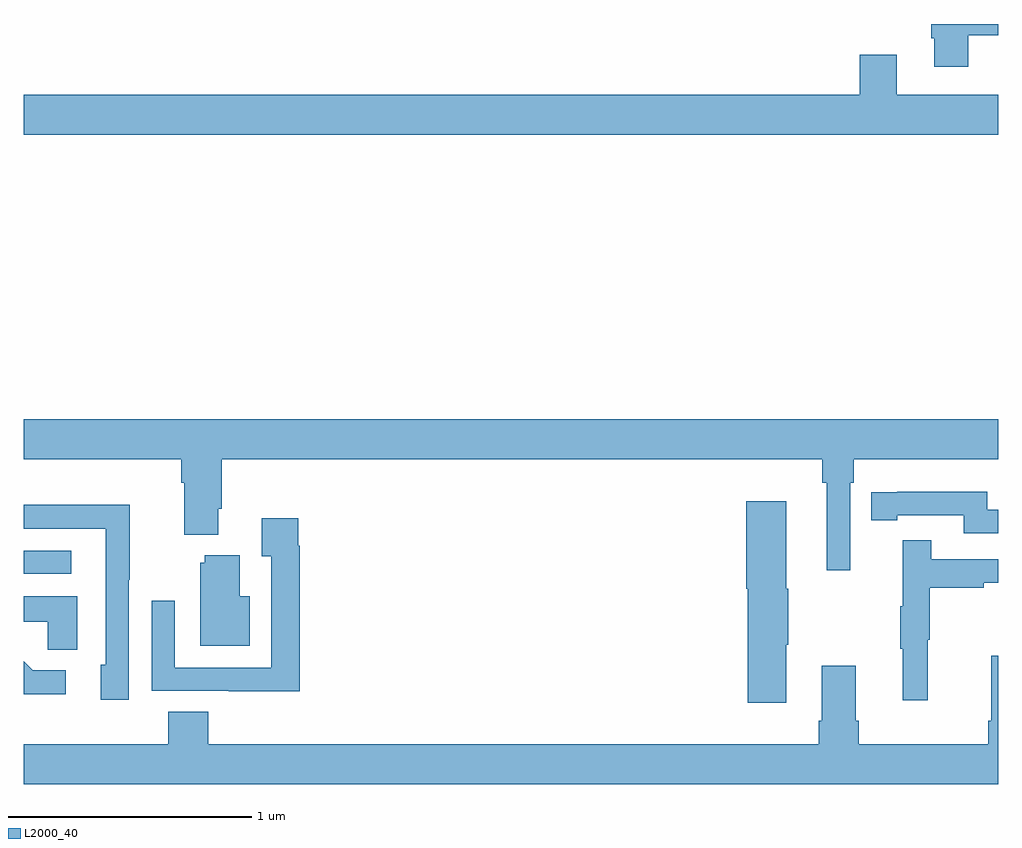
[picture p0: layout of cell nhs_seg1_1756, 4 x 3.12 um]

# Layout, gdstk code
import gdstk
lib = gdstk.Library(unit=1e-6, precision=1e-09)
def R(c, l, rs):  # rectangles x0, y0, x1, y1
    for r in rs: c.add(gdstk.rectangle(r[:2], r[2:], *l))
def P(c, l, *ps):  # polygons
    for p in ps: c.add(gdstk.Polygon(p, *l))
L2000_40 = (2000, 40)

nhs_seg1_1756 = lib.new_cell('nhs_seg1_1756')
R(nhs_seg1_1756, L2000_40, [(207,537.942,207.196,538.038)])
P(nhs_seg1_1756, L2000_40, [(210.877,540.153),(211,540.153),(211,540.199),(210.725,540.199),(210.725,540.141),(210.737,540.141),(210.737,540.024),(210.877,540.024)],
  [(211,539.908),(210.583,539.908),(210.583,540.073),(210.431,540.073),(210.431,539.908),(207,539.908),(207,539.744),(211,539.744)],
  [(210.393,538.316),(210.407,538.316),(210.407,538.412),(211,538.412),(211,538.576),(207,538.576),(207,538.412),(207.647,538.412),(207.647,538.316),(207.659,538.316),(207.659,538.103),(207.799,538.103),(207.799,538.21),(207.812,538.21),(207.812,538.412),(210.277,538.412),(210.277,538.316),(210.296,538.316),(210.296,537.957),(210.393,537.957)],
  [(211,538.206),(210.954,538.206),(210.954,538.279),(210.586,538.279),(210.586,538.278),(210.478,538.278),(210.478,538.162),(210.586,538.162),(210.586,538.182),(210.858,538.182),(210.858,538.11),(211,538.11)],
  [(210.13,537.652),(210.138,537.652),(210.138,537.882),(210.13,537.882),(210.13,538.24),(209.966,538.24),(209.966,537.882),(209.972,537.882),(209.972,537.414),(210.13,537.414)],
  [(207.432,537.919),(207.435,537.919),(207.435,538.226),(207,538.226),(207,538.128),(207.336,538.128),(207.336,537.57),(207.317,537.57),(207.317,537.426),(207.432,537.426)],
  [(208.133,538.058),(208.126,538.058),(208.126,538.171),(207.977,538.171),(207.977,538.015),(208.017,538.015),(208.017,537.558),(207.621,537.558),(207.621,537.832),(207.525,537.832),(207.525,537.462),(207.841,537.462),(207.841,537.461),(208.133,537.461)],
  [(210.71,537.672),(210.718,537.672),(210.718,537.886),(210.941,537.886),(210.941,537.906),(211,537.906),(211,538.002),(210.725,538.002),(210.725,538.081),(210.608,538.081),(210.608,537.809),(210.597,537.809),(210.597,537.635),(210.608,537.635),(210.608,537.423),(210.71,537.423)],
  [(207.928,537.85),(207.886,537.85),(207.886,538.018),(207.743,538.018),(207.743,537.987),(207.725,537.987),(207.725,537.647),(207.928,537.647)],
  [(207.22,537.85),(207,537.85),(207,537.746),(207.099,537.746),(207.099,537.631),(207.22,537.631)],
  [(211,537.607),(210.971,537.607),(210.971,537.34),(210.959,537.34),(210.959,537.244),(210.428,537.244),(210.428,537.34),(210.415,537.34),(210.415,537.565),(210.275,537.565),(210.275,537.34),(210.263,537.34),(210.263,537.244),(207.758,537.244),(207.758,537.377),(207.593,537.377),(207.593,537.244),(207,537.244),(207,537.08),(211,537.08)],
  [(207.172,537.546),(207.037,537.546),(207,537.583),(207,537.449),(207.172,537.449)])

lib.write_gds('nhs_seg1_1756.gds')
